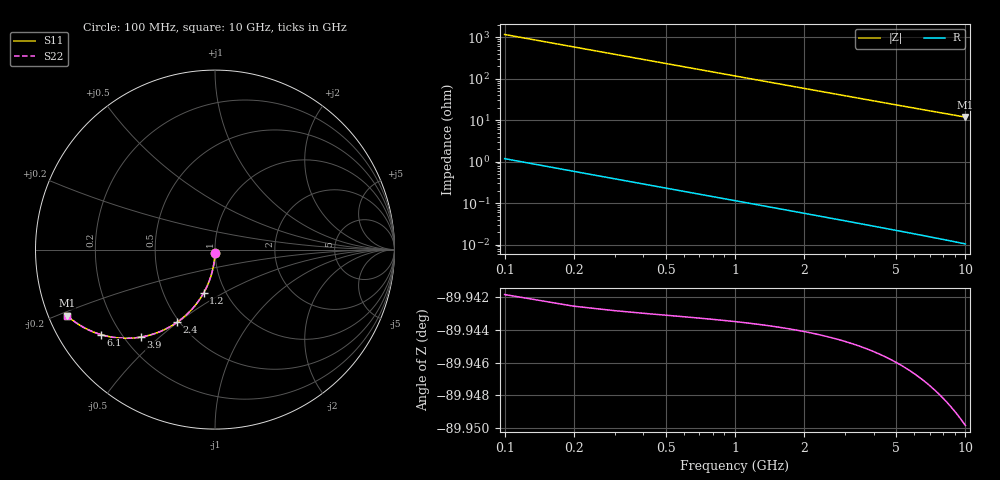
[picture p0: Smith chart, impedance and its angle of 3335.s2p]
# Hz S RI R 50.00
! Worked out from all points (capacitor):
!   100 points, 100 MHz to 10 GHz, reference 50 ohm
!   read as one part in shunt: C = 1.37 pF near 100 MHz
!   lowest |Z| = 11.8 ohm at 10 GHz (marker M1)
!   S11 on the Smith chart (normalised r, x): 100 MHz: 1.00, -0.04; 1.2 GHz: 0.79, -0.41; 2.4 GHz: 0.48, -0.50; 3.9 GHz: 0.26, -0.44; 6.1 GHz: 0.13, -0.33; 10 GHz: 0.05, -0.21
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1e8  -0.000428 -0.0214  0.9995 -0.0217  0.9995 -0.0217  -0.000428 -0.0214
2e8  -0.00184 -0.0428  0.998 -0.0433  0.998 -0.0433  -0.00184 -0.0428
3e8  -0.00417 -0.0641  0.9957 -0.0648  0.9957 -0.0648  -0.00417 -0.0641
4e8  -0.00741 -0.0852  0.9925 -0.0861  0.9925 -0.0861  -0.00741 -0.0852
5e8  -0.0115 -0.106  0.9883 -0.1072  0.9883 -0.1072  -0.0115 -0.106
6e8  -0.0165 -0.1266  0.9833 -0.1279  0.9833 -0.1279  -0.0165 -0.1266
7e8  -0.0224 -0.1468  0.9775 -0.1484  0.9775 -0.1484  -0.0224 -0.1468
9e8  -0.0364 -0.186  0.9635 -0.188  0.9635 -0.188  -0.0364 -0.186
1.2e9  -0.0629 -0.2411  0.9369 -0.2439  0.9369 -0.2439  -0.0629 -0.2411
1.5e9  -0.0949 -0.291  0.9049 -0.2944  0.9049 -0.2944  -0.0949 -0.291
1.8e9  -0.1312 -0.3351  0.8687 -0.3393  0.8687 -0.3393  -0.1312 -0.3351
2.1e9  -0.1704 -0.3731  0.8294 -0.378  0.8294 -0.378  -0.1704 -0.3731
2.4e9  -0.2115 -0.4051  0.7883 -0.4107  0.7883 -0.4107  -0.2115 -0.4051
2.9e9  -0.2814 -0.4458  0.7185 -0.4526  0.7185 -0.4526  -0.2814 -0.4458
3.4e9  -0.3499 -0.4725  0.65 -0.4804  0.65 -0.4804  -0.3499 -0.4725
3.9e9  -0.4146 -0.4876  0.5853 -0.4967  0.5853 -0.4967  -0.4146 -0.4876
5.1e9  -0.5478 -0.4912  0.452 -0.5032  0.452 -0.5032  -0.5478 -0.4912
6.1e9  -0.6342 -0.4739  0.3655 -0.4883  0.3655 -0.4883  -0.6342 -0.4739
6.7e9  -0.6767 -0.4593  0.3231 -0.4751  0.3231 -0.4751  -0.6767 -0.4593
7.5e9  -0.7241 -0.4375  0.2756 -0.4552  0.2756 -0.4552  -0.7241 -0.4375
8.4e9  -0.7673 -0.412  0.2324 -0.4319  0.2324 -0.4319  -0.7673 -0.412
1e10  -0.8241 -0.3681  0.1755 -0.392  0.1755 -0.392  -0.8241 -0.3681
